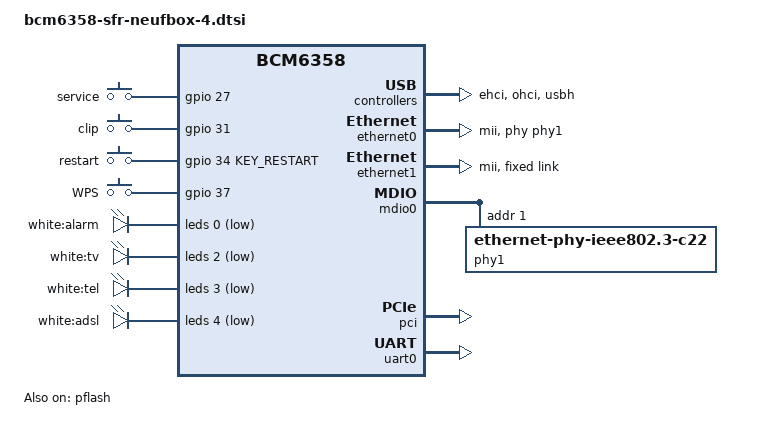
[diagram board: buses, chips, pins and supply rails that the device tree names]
// SPDX-License-Identifier: GPL-2.0-or-later

#include "bcm6358.dtsi"

/ {
	keys {
		compatible = "gpio-keys-polled";
		poll-interval = <20>;

		service {
			label = "service";
			gpios = <&gpio 27 GPIO_ACTIVE_HIGH>;
			linux,code = <BTN_0>;
			debounce-interval = <60>;
		};

		clip {
			label = "clip";
			gpios = <&gpio 31 GPIO_ACTIVE_HIGH>;
			linux,code = <BTN_1>;
			debounce-interval = <60>;
		};

		restart {
			label = "restart";
			gpios = <&gpio 34 KEY_RESTART>;
			linux,code = <KEY_RESTART>;
			debounce-interval = <60>;
		};

		wps {
			label = "WPS";
			gpios = <&gpio 37 GPIO_ACTIVE_HIGH>;
			linux,code = <KEY_WPS_BUTTON>;
			debounce-interval = <60>;
		};
	};
};

&leds {
	status = "okay";

	pinctrl-names = "default";
	pinctrl-0 = <&pinctrl_serial_led>;

	led@0 {
		reg = <0>;
		active-low;
		label = "white:alarm";
	};

	led@2 {
		reg = <2>;
		active-low;
		label = "white:tv";
	};

	led@3 {
		reg = <3>;
		active-low;
		label = "white:tel";
	};

	led@4 {
		reg = <4>;
		active-low;
		label = "white:adsl";
	};
};

&ehci {
	status = "okay";
};

&ethernet0 {
	status = "okay";

	nvmem-cells = <&macaddr_cfe_6a0>;
	nvmem-cell-names = "mac-address";

	phy-handle = <&phy1>;
	phy-mode = "mii";
};

&ethernet1 {
	status = "okay";

	nvmem-cells = <&macaddr_cfe_6a0>;
	nvmem-cell-names = "mac-address";
	mac-address-increment = <1>;

	phy-mode = "mii";

	fixed-link {
		speed = <100>;
		full-duplex;
	};
};

&iudma {
	status = "okay";
};

&mdio0 {
	#address-cells = <1>;
	#size-cells = <0>;
	reg = <0>;

	phy1: ethernet-phy@1 {
		compatible = "ethernet-phy-ieee802.3-c22";
		reg = <1>;
	};
};

&ohci {
	status = "okay";
};

&pci {
	status = "okay";
};

&pflash {
	status = "okay";

	partitions {
		compatible = "fixed-partitions";
		#address-cells = <1>;
		#size-cells = <1>;

		cfe: partition@0 {
			label = "cfe";
			reg = <0x000000 0x010000>;
			read-only;
		};

		partition@10000 {
			label = "firmware";
			reg = <0x010000 0x770000>;
			compatible = "brcm,bcm963xx-imagetag";
		};

		partition@780000 {
			label = "adsl_phy";
			reg = <0x780000 0x070000>;
		};

		partition@7f0000 {
			label = "nvram";
			reg = <0x7f0000 0x010000>;
		};
	};
};

&uart0 {
	status = "okay";
};

&usbh {
	status = "okay";
};

&cfe {
	compatible = "nvmem-cells";
	#address-cells = <1>;
	#size-cells = <1>;

	macaddr_cfe_6a0: macaddr@6a0 {
		reg = <0x6a0 0x6>;
	};
};
